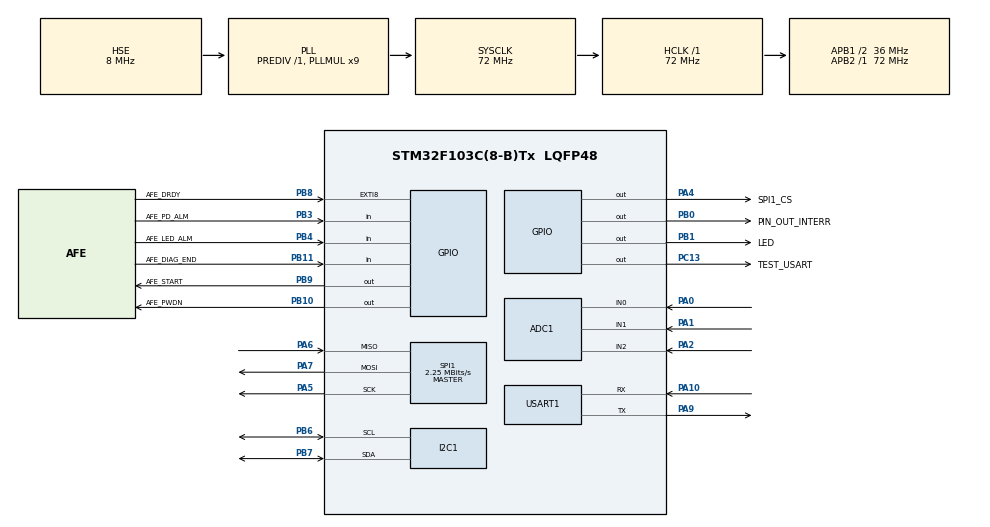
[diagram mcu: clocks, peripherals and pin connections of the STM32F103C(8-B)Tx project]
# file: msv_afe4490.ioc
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ADC1.Channel-0\#ChannelRegularConversion=ADC_CHANNEL_0
ADC1.Channel-3\#ChannelRegularConversion=ADC_CHANNEL_1
ADC1.Channel-4\#ChannelRegularConversion=ADC_CHANNEL_2
ADC1.ContinuousConvMode=DISABLE
ADC1.DiscontinuousConvMode=DISABLE
ADC1.NbrOfConversion=3
ADC1.NbrOfConversionFlag=1
ADC1.Rank-0\#ChannelRegularConversion=1
ADC1.Rank-3\#ChannelRegularConversion=2
ADC1.Rank-4\#ChannelRegularConversion=3
ADC1.SamplingTime-0\#ChannelRegularConversion=ADC_SAMPLETIME_1CYCLE_5
ADC1.SamplingTime-3\#ChannelRegularConversion=ADC_SAMPLETIME_1CYCLE_5
ADC1.SamplingTime-4\#ChannelRegularConversion=ADC_SAMPLETIME_1CYCLE_5
ADC1.master=1
Dma.Request0=USART1_RX
Dma.USART1_RX.0.Direction=DMA_PERIPH_TO_MEMORY
Dma.USART1_RX.0.Instance=DMA1_Channel5
Dma.USART1_RX.0.MemDataAlignment=DMA_MDATAALIGN_BYTE
Dma.USART1_RX.0.MemInc=DMA_MINC_ENABLE
Dma.USART1_RX.0.Mode=DMA_NORMAL
Dma.USART1_RX.0.PeriphDataAlignment=DMA_PDATAALIGN_BYTE
Dma.USART1_RX.0.PeriphInc=DMA_PINC_DISABLE
Dma.USART1_RX.0.Priority=DMA_PRIORITY_MEDIUM
FREERTOS.Tasks01=principal,0,700,tarea1,Default,NULL,Dynamic,NULL,NULL
FREERTOS.configUSE_NEWLIB_REENTRANT=1
Mcu.Family=STM32F1
Mcu.Name=STM32F103C(8-B)Tx
Mcu.Package=LQFP48
NVIC.DMA1_Channel5_IRQn=true\:5\:0\:false\:false\:true\:true\:false\:true\:true
NVIC.EXTI9_5_IRQn=true\:5\:0\:false\:false\:true\:true\:true\:true\:true
NVIC.PriorityGroup=NVIC_PRIORITYGROUP_4
NVIC.SPI1_IRQn=true\:5\:0\:false\:false\:true\:true\:true\:true\:true
NVIC.TIM1_UP_IRQn=true\:15\:0\:false\:false\:true\:false\:false\:true\:true
NVIC.TIM2_IRQn=true\:5\:0\:false\:false\:true\:true\:true\:true\:true
NVIC.TimeBase=TIM1_UP_IRQn
NVIC.TimeBaseIP=TIM1
NVIC.USART1_IRQn=true\:5\:0\:false\:false\:true\:true\:true\:true\:true
PA0-WKUP.Signal=ADCx_IN0
PA1.Signal=ADCx_IN1
PA10.Mode=Asynchronous
PA10.Signal=USART1_RX
PA13.Mode=Serial_Wire
PA13.Signal=SYS_JTMS-SWDIO
PA14.Mode=Serial_Wire
PA14.Signal=SYS_JTCK-SWCLK
PA2.Signal=ADCx_IN2
PA4.GPIO_Label=SPI1_CS
PA4.Signal=GPIO_Output
PA5.Mode=Full_Duplex_Master
PA5.Signal=SPI1_SCK
PA6.Mode=Full_Duplex_Master
PA6.Signal=SPI1_MISO
PA7.Mode=Full_Duplex_Master
PA7.Signal=SPI1_MOSI
PA9.Mode=Asynchronous
PA9.Signal=USART1_TX
PB0.GPIO_Label=PIN_OUT_INTERR
PB0.Signal=GPIO_Output
PB1.GPIO_Label=LED
PB1.Signal=GPIO_Output
PB10.GPIO_Label=AFE_PWDN
PB10.Signal=GPIO_Output
PB11.GPIO_Label=AFE_DIAG_END
PB11.Signal=GPIO_Input
PB3.GPIO_Label=AFE_PD_ALM
PB3.Signal=GPIO_Input
PB4.GPIO_Label=AFE_LED_ALM
PB4.Signal=GPIO_Input
PB6.Mode=I2C
PB6.Signal=I2C1_SCL
PB7.Mode=I2C
PB7.Signal=I2C1_SDA
PB8.GPIO_Label=AFE_DRDY
PB8.GPIO_PuPd=GPIO_PULLUP
PB8.Signal=GPXTI8
PB9.GPIO_Label=AFE_START
PB9.Signal=GPIO_Output
PC13-TAMPER-RTC.GPIO_Label=TEST_USART
PC13-TAMPER-RTC.GPIO_PuPd=GPIO_PULLDOWN
PC13-TAMPER-RTC.PinState=GPIO_PIN_SET
PC13-TAMPER-RTC.Signal=GPIO_Output
PD0-OSC_IN.Mode=HSE-External-Oscillator
PD0-OSC_IN.Signal=RCC_OSC_IN
PD1-OSC_OUT.Mode=HSE-External-Oscillator
PD1-OSC_OUT.Signal=RCC_OSC_OUT
ProjectManager.HeapSize=0x200
ProjectManager.StackSize=0x400
ProjectManager.TargetToolchain=STM32CubeIDE
RCC.ADCPresc=RCC_ADCPCLK2_DIV6
RCC.AHBFreq_Value=72000000
RCC.APB1CLKDivider=RCC_HCLK_DIV2
RCC.APB1Freq_Value=36000000
RCC.APB1TimFreq_Value=72000000
RCC.APB2Freq_Value=72000000
RCC.APB2TimFreq_Value=72000000
RCC.HCLKFreq_Value=72000000
RCC.PLLMUL=RCC_PLL_MUL9
RCC.PLLSourceVirtual=RCC_PLLSOURCE_HSE
RCC.SYSCLKFreq_VALUE=72000000
RCC.SYSCLKSource=RCC_SYSCLKSOURCE_PLLCLK
RCC.USBFreq_Value=48000000
RCC.USBPrescaler=RCC_USBCLKSOURCE_PLL_DIV1_5
SH.ADCx_IN0.0=ADC1_IN0,IN0
SH.ADCx_IN1.0=ADC1_IN1,IN1
SH.ADCx_IN2.0=ADC1_IN2,IN2
SPI1.BaudRatePrescaler=SPI_BAUDRATEPRESCALER_32
SPI1.CalculateBaudRate=2.25 MBits/s
SPI1.Direction=SPI_DIRECTION_2LINES
SPI1.Mode=SPI_MODE_MASTER
SPI1.VirtualType=VM_MASTER
TIM2.Period=4000-1
TIM2.Prescaler=72-1
USART1.VirtualMode=VM_ASYNC
VP_FREERTOS_VS_CMSIS_V1.Mode=CMSIS_V1
VP_SYS_VS_tim1.Mode=TIM1
VP_TIM2_VS_ClockSourceINT.Mode=Internal
board=custom

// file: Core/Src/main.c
/* USER CODE BEGIN Header */
/**
  ******************************************************************************
  * @file           : main.c
  * @brief          : Main program body
  ******************************************************************************
  * @attention
  *
  * Copyright (c) 2022 STMicroelectronics.
  * All rights reserved.
  *
  * This software is licensed under terms that can be found in the LICENSE file
  * in the root directory of this software component.
  * If no LICENSE file comes with this software, it is provided AS-IS.
  *
  ******************************************************************************
  */
/* USER CODE END Header */
#include "main.h"
#include "cmsis_os.h"
#include "adc.h"
#include "dma.h"
#include "i2c.h"
#include "spi.h"
#include "tim.h"
#include "usart.h"
#include "gpio.h"

/* USER CODE BEGIN PV */
TIM_HandleTypeDef htim;

bool flag_4ms = false;

/* USER CODE END PV */

void SystemClock_Config(void);
void MX_FREERTOS_Init(void);

int main(void)
{

  /* MCU Configuration--------------------------------------------------------*/

  /* Reset of all peripherals, Initializes the Flash interface and the Systick. */
  HAL_Init();

  /* Configure the system clock */
  SystemClock_Config();

  /* Initialize all configured peripherals */
  MX_GPIO_Init();
  MX_DMA_Init();
  MX_ADC1_Init();
  MX_I2C1_Init();
  MX_SPI1_Init();
  MX_USART1_UART_Init();
  MX_TIM2_Init();
  /* USER CODE BEGIN 2 */

  // Start timer
  HAL_TIM_Base_Start_IT(&htim2);

  /* USER CODE END 2 */

  /* Call init function for freertos objects (in freertos.c) */
  MX_FREERTOS_Init();

  /* Start scheduler */
  osKernelStart();

  /* We should never get here as control is now taken by the scheduler */
  /* Infinite loop */
  while (1)
  {

  }
}

void SystemClock_Config(void)
{
  RCC_OscInitTypeDef RCC_OscInitStruct = {0};
  RCC_ClkInitTypeDef RCC_ClkInitStruct = {0};
  RCC_PeriphCLKInitTypeDef PeriphClkInit = {0};

  /** Initializes the RCC Oscillators according to the specified parameters
  * in the RCC_OscInitTypeDef structure.
  */
  RCC_OscInitStruct.OscillatorType = RCC_OSCILLATORTYPE_HSE;
  RCC_OscInitStruct.HSEState = RCC_HSE_ON;
  RCC_OscInitStruct.HSEPredivValue = RCC_HSE_PREDIV_DIV1;
  RCC_OscInitStruct.HSIState = RCC_HSI_ON;
  RCC_OscInitStruct.PLL.PLLState = RCC_PLL_ON;
  RCC_OscInitStruct.PLL.PLLSource = RCC_PLLSOURCE_HSE;
  RCC_OscInitStruct.PLL.PLLMUL = RCC_PLL_MUL9;
  if (HAL_RCC_OscConfig(&RCC_OscInitStruct) != HAL_OK)
  {
    Error_Handler();
  }

  /** Initializes the CPU, AHB and APB buses clocks
  */
  RCC_ClkInitStruct.ClockType = RCC_CLOCKTYPE_HCLK|RCC_CLOCKTYPE_SYSCLK
                              |RCC_CLOCKTYPE_PCLK1|RCC_CLOCKTYPE_PCLK2;
  RCC_ClkInitStruct.SYSCLKSource = RCC_SYSCLKSOURCE_PLLCLK;
  RCC_ClkInitStruct.AHBCLKDivider = RCC_SYSCLK_DIV1;
  RCC_ClkInitStruct.APB1CLKDivider = RCC_HCLK_DIV2;
  RCC_ClkInitStruct.APB2CLKDivider = RCC_HCLK_DIV1;

  if (HAL_RCC_ClockConfig(&RCC_ClkInitStruct, FLASH_LATENCY_2) != HAL_OK)
  {
    Error_Handler();
  }
  PeriphClkInit.PeriphClockSelection = RCC_PERIPHCLK_ADC;
  PeriphClkInit.AdcClockSelection = RCC_ADCPCLK2_DIV6;
  if (HAL_RCCEx_PeriphCLKConfig(&PeriphClkInit) != HAL_OK)
  {
    Error_Handler();
  }
}

void HAL_TIM_PeriodElapsedCallback(TIM_HandleTypeDef *htim)
{
  if (htim->Instance == TIM1) {
    HAL_IncTick();
  }
  /* USER CODE BEGIN Callback 1 */
  if (htim == &htim2 )
    {
      flag_4ms = true;
      HAL_GPIO_TogglePin(GPIOB, GPIO_PIN_1);
    }

  /* USER CODE END Callback 1 */
}

void Error_Handler(void)
{
  __disable_irq();
  while (1)
  {
  }
}

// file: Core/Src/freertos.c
/* USER CODE BEGIN Header */
/**
 ******************************************************************************
  * Descripción        : Código de FreeRtos para el monitor de signos vitales
 *                      (módulo SMT32f103 de oximetría).
 *
 * Comandos Disponibles:
 *      S: Iniciar.
 *      E: Detener.
 *      I: solicitar información de firmware.
 *
 * Lista de cambios:
 *
 * 1.0.0 - Primer versión estable.
 * 1.0.1 - Primer optimización de código.
 * 1.0.2 - Se agregan definiciones para los comandos.
 * 1.1.0 - Se agrega buffer en la salida de oxigenación para evitar cambios bruscos en el valor calculado.
 * 1.1.1 - Se agrega buffer en la salida de fecuencia cardiaca para evitar cambios bruscos en el valor calculado.
 * 1.1.2 - Ajuste en el manejo de los buffers de oxigeneación y frecuencia cardiaca
 * 			Se envia aviso de detección de sonda: 	O:0 -> no se detecta la sonda
 * 													O:1 -> no se detecta el dedo
 *													O:2 -> estado correcto midiendo
 *
 *
 ******************************************************************************
 * @attention
 *
 * Copyright (c) 2022 STMicroelectronics.
 * All rights reserved.
 *
 * This software is licensed under terms that can be found in the LICENSE file
 * in the root directory of this software component.
 * If no LICENSE file comes with this software, it is provided AS-IS.
 *
 ******************************************************************************
 */
/* USER CODE END Header */

#include "FreeRTOS.h"
#include "task.h"
#include "main.h"
#include "cmsis_os.h"

/* USER CODE BEGIN Includes */
#include <stdio.h>
#include <string.h>
#include <stdlib.h>
#include <math.h>
/* USER CODE END Includes */

/* USER CODE BEGIN PTD */
typedef enum
{
    FALSE = 0u, TRUE
} boolean;

typedef enum
{
    CONTROL0 = 0x00,
    LED2STC,
    LED2ENDC,
    LED2LEDSTC,
    LED2LEDENDC,
    ALED2STC,
    ALED2ENDC,
    LED1STC,
    LED1ENDC,
    LED1LEDSTC,
    LED1LEDENDC,
    ALED1STC,
    ALED1ENDC,
    LED2CONVST,
    LED2CONVEND,
    ALED2CONVST,
    ALED2CONVEND,
    LED1CONVST,
    LED1CONVEND,
    ALED1CONVST,
    ALED1CONVEND,
    ADCRSTCNT0,
    ADCRSTENDCT0,
    ADCRSTCNT1,
    ADCRSTENDCT1,
    ADCRSTCNT2,
    ADCRSTENDCT2,
    ADCRSTCNT3,
    ADCRSTENDCT3,
    PRPCOUNT,
    CONTROL1,
    SPARE1,
    TIAGAIN,
    TIA_AMB_GAIN,
    LEDCNTRL,
    CONTROL2,
    SPARE2,
    SPARE3,
    SPARE4,
    RESERVED1,
    RESERVED2,
    ALARM,
    LED2VAL,
    ALED2VAL,
    LED1VAL,
    ALED1VAL,
    LED2ABSVAL,
    LED1ABSVAL,
    DIAG
} afeRegisters;

typedef struct
{
        int32_t heart_rate;
        int32_t spo2;
        int32_t ir;
        int32_t red;
        boolean calculated_value;
} afe44xx_output_values;

typedef union
{
        struct
        {
                uint8_t b;
                uint8_t r;
                uint8_t g;
        } color;
        uint32_t data;
} PixelRGB_t;

/* USER CODE END PTD */

/* USER CODE BEGIN PD */
#define VERSION_FIRMWARE "1.1.2"
#define ADC_VMAX 4095.0         // 2^12-1 Bits
#define ADC_VREF  2.5       //Voltaje de referencia (en volts)
#define RES_PULLUP_TEMPERATURA 10000
#define V_POWER  3.3

#define CMD_INICIAR 'S'
#define CMD_DETENER 'E'
#define CMD_INFO    'I'
#define CMD_PING    'P'

#define FS            25    //sampling frequency
#define BUFFER_SIZE  (FS*4)
#define MA4_SIZE  4 // DONOT CHANGE
#define NUMERO_MUESTRAS_TEMPERATURA 64

#define	TOL_FC			25
#define	LIM_SUP_SONDA	4190000
#define	LIM_INF_SONDA	5000

/* USER CODE END PD */

/* USER CODE BEGIN PM */
#define min(x,y) ((x) < (y) ? (x) : (y))
//#define millis() (absoluteElapsedTime)
#define millis() HAL_GetTick ()
/* USER CODE END PM */

/* USER CODE BEGIN Variables */
/// Dispositivos
extern SPI_HandleTypeDef hspi1;
extern TIM_HandleTypeDef htim2;

extern UART_HandleTypeDef huart1;
extern ADC_HandleTypeDef hadc1;

/// Variables generales
uint8_t versionFirmware[] = VERSION_FIRMWARE;

uint8_t msgBuff[40] =
        { 0 };
uint8_t msgCount;
//uint8_t rxBuff[15] = { 0 };
uint8_t rxByte;
//uint8_t rxCnt = 0;

extern bool flag_4ms;
boolean solicitarInfo = FALSE;
boolean monitoreoActivo = FALSE;
boolean flag_error = FALSE;
boolean	flag_Ping = FALSE;
boolean flag_Start = FALSE ;
uint16_t count_Dato = 0;

boolean	flag_500ms = FALSE;
boolean flag_init_p = FALSE;

uint16_t buffMuestrasTemperatura[NUMERO_MUESTRAS_TEMPERATURA]; //2.844V - 36º
uint16_t buffMuestrasVTotal[NUMERO_MUESTRAS_TEMPERATURA]; //2.844V - 36º

float temperatura;

int32_t val_pleth_Grafica = 0;
int32_t val_pleth = 0;

int afe_oxigenacion = 0;         // Valor leído de spo2 previamente guardado
int afe_frecuenciaCardiaca = 0; // Valor leído de hartrate previamente guardado

/// Variables para FC
int32_t valor_0=0,valor_1=0;
float  	m_min=0, m_act=0;
float	array_frec[10]={0,0,0,0,0,0,0,0,0,0};
float	delta_t=1,frec_bpm=0;
float	prom_frec=0,sum_frec=0;
float	suma_fc=0, prom_fc=0;
float	frec_bpm_0=0,dif_bpm=0;

int		flag_pls=0,flag_edg=0;
int		cont_m=0,cont_clr=0;
int		cont_array=0,lim_array=6;		//  antes lim_array=10
int		delta_m=10;
int		cont_500ms=0;

int8_t	edo_sonda = 0,edo_sonda_ant=0;
unsigned long tiempo_0=0, tiempo_1=0,cont_pulsos=0;
uint32_t	cta_envio = 0;

/// Variables AFE

boolean drdy_trigger = FALSE; // Bandera indicando que se hay listo un dato para leer, se activa por interrupción
uint8_t dec = 0;                                      // Contador para los comandos del AFE

int8_t n_buffer_count;                            //data length
uint16_t aun_ir_buffer[100];                      //infrared LED sensor data
uint16_t aun_red_buffer[100];                     //red LED sensor data
int32_t an_x[BUFFER_SIZE];
int32_t an_y[BUFFER_SIZE];

const uint8_t uch_spo2_table[184] =
        { 95, 95, 95, 96, 96, 96, 97, 97, 97, 97, 97, 98, 98, 98, 98, 98, 99, 99, 99, 99, 99, 99, 99,
          99, 100, 100, 100, 100, 100, 100, 100, 100, 100, 100, 100, 100, 100, 100, 100, 100, 100, 100,
          100, 100, 99, 99, 99, 99, 99, 99, 99, 99, 98, 98, 98, 98, 98, 98, 97, 97, 97, 97, 96, 96, 96,
          96, 95, 95, 95, 94, 94, 94, 93, 93, 93, 92, 92, 92, 91, 91, 90, 90, 89, 89, 89, 88, 88, 87,
          87, 86, 86, 85, 85, 84, 84, 83, 82, 82, 81, 81, 80, 80, 79, 78, 78, 77, 76, 76, 75, 74, 74,
          73, 72, 72, 71, 70, 69, 69, 68, 67, 66, 66, 65, 64, 63, 62, 62, 61, 60, 59, 58, 57, 56, 56,
          55, 54, 53, 52, 51, 50, 49, 48, 47, 46, 45, 44, 43, 42, 41, 40, 39, 38, 37, 36, 35, 34, 33,
          31, 30, 29, 28, 27, 26, 25, 23, 22, 21, 20, 19, 17, 16, 15, 14, 12, 11, 10, 9, 7, 6, 5, 3, 2,
          1 };
afe44xx_output_values afe_datos;                // Datos leídos del AFE

/* USER CODE END Variables */
osThreadId principalHandle;

/* USER CODE BEGIN FunctionPrototypes */

void afe44xxWrite (afeRegisters address, uint32_t data);
uint32_t afe44xxRead (uint8_t address);
void afe44xxInit (void);
void sort_ascend (int32_t *pn_x, int32_t n_size);
void sort_indices_descend (int32_t *pn_x, int32_t *pn_indx, int32_t n_size);
void remove_close_peaks (int32_t *pn_locs, int32_t *pn_npks, int32_t *pn_x, int32_t n_min_distance);
void find_peak_above (int32_t *pn_locs,
                      int32_t *n_npks,
                      int32_t *pn_x,
                      int32_t n_size,
                      int32_t n_min_height);
void find_peak (int32_t *pn_locs,
                int32_t *n_npks,
                int32_t *pn_x,
                int32_t n_size,
                int32_t n_min_height,
                int32_t n_min_distance,
                int32_t n_max_num);
void estimate_spo2 (uint16_t *pun_ir_buffer,
                    int32_t n_ir_buffer_length,
                    uint16_t *pun_red_buffer,
                    int32_t *pn_spo2,
                    int8_t *pch_spo2_valid,
                    int32_t *pn_heart_rate,
                    int8_t *pch_hr_valid);

boolean getDataIfAvailable (afe44xx_output_values *sensed_values);
void selChADC (ADC_HandleTypeDef *hadc, uint8_t channel);
uint16_t analogRead (ADC_HandleTypeDef *hadc);
void USART_Rev (UART_HandleTypeDef *huart);

/* USER CODE END FunctionPrototypes */

void tarea1(void const * argument);

void MX_FREERTOS_Init(void); /* (MISRA C 2004 rule 8.1) */

/* GetIdleTaskMemory prototype (linked to static allocation support) */
void vApplicationGetIdleTaskMemory( StaticTask_t **ppxIdleTaskTCBBuffer, StackType_t **ppxIdleTaskStackBuffer, uint32_t *pulIdleTaskStackSize );

/* USER CODE BEGIN GET_IDLE_TASK_MEMORY */
static StaticTask_t xIdleTaskTCBBuffer;
static StackType_t xIdleStack[configMINIMAL_STACK_SIZE];

void vApplicationGetIdleTaskMemory (StaticTask_t **ppxIdleTaskTCBBuffer,
                                    StackType_t **ppxIdleTaskStackBuffer,
                                    uint32_t *pulIdleTaskStackSize)
{
    *ppxIdleTaskTCBBuffer = &xIdleTaskTCBBuffer;
    *ppxIdleTaskStackBuffer = &xIdleStack[0];
    *pulIdleTaskStackSize = configMINIMAL_STACK_SIZE;
    /* place for user code */
}
/* USER CODE END GET_IDLE_TASK_MEMORY */

void MX_FREERTOS_Init(void) {

  /* Create the thread(s) */
  /* definition and creation of principal */
  osThreadDef(principal, tarea1, osPriorityNormal, 0, 700);
  principalHandle = osThreadCreate(osThread(principal), NULL);

}

void tarea1(void const * argument)
{
  /* USER CODE BEGIN tarea1 */
    HAL_UART_Receive_IT (&huart1, &rxByte, 1);

  //  msgCount = sprintf ((char*) msgBuff, (char*) "R\n");
 //   HAL_UART_Transmit (&huart1, msgBuff, msgCount, 5);

    //AFE Wake-up time from complete power-down : 1000ms TYP
    osDelay (2000); //asegurar que el AFE inicie correctamente
    afe44xxInit ();

    //    usbCount = sprintf ((char*) usbBuff, (char*) "AFE Inicializado\n");

    for (;;)
    {
    	//if(!USART_CR1_PEIE)
    	//{
       		USART_Rev(&huart1);
    	//}
       	if (monitoreoActivo)
       	{
       		getDataIfAvailable (&afe_datos);

       		///////////////////////////////////
       		//SET_BIT(US,1);
       		//HAL_USART_ErrorCallback(&huart1);
       		///////////////////////////////////

       		if (flag_4ms)	//gráfica cada 4ms (250sps)
       		{
       			flag_4ms = false;
       			val_pleth = (afe_datos.red + afe_datos.ir);
       			cont_500ms++;
       			cta_envio++;
       			count_Dato++;
       			if(count_Dato>9)
       			{
       				count_Dato=0;
       			}

       			edo_sonda_ant = edo_sonda;

       			if (val_pleth <= LIM_INF_SONDA)		// valor recibido cuando no se detecta la sonda
       			{
       				edo_sonda = 0;
       				val_pleth_Grafica = 0;

       			}
       			else if (val_pleth >= LIM_SUP_SONDA)	// valor recibido cuando no está colocado el dedo
       			{
       				edo_sonda = 1;
       				val_pleth_Grafica = 0;
       			}
       			else	// sonda y colocación correcta
       			{
       				edo_sonda = 2;
       				val_pleth_Grafica = val_pleth;
       			}

       			if (edo_sonda != edo_sonda_ant)
       			{
       				cta_envio=0;
       			}
       			if (cta_envio == 8)
       			{
       				msgCount = sprintf ((char*) msgBuff, (char*) "O:%i\n",edo_sonda);
       				HAL_UART_Transmit (&huart1, msgBuff, msgCount, 5);
       			}
       			afe_oxigenacion = (int)afe_datos.spo2;
       			if((afe_oxigenacion<60)||(afe_oxigenacion>100))
       			{
       				msgCount = sprintf ((char*) msgBuff, (char*) "B:0,%i\n",count_Dato);
       			}
       			else
       			{
       				msgCount = sprintf ((char*) msgBuff, (char*) "B:%li,%i\n",val_pleth_Grafica / 100,count_Dato);
       			}

       			//msgCount = sprintf ((char*) msgBuff, (char*) "B:%li,%i\n",val_pleth_Grafica / 100,count_Dato);	 //para RAS,

       			HAL_UART_Transmit (&huart1, msgBuff, msgCount, 5);

       			if (edo_sonda == 2) // si se detecta sonda y dedo correctamente
       			{
       				if (cont_m == 1)
       				{
       					valor_0 = val_pleth_Grafica;
       				}
       				else if (cont_m > delta_m)
       				{
       					valor_1 = val_pleth_Grafica;
       					cont_m = 0;
       					m_act = (valor_1 - valor_0) / delta_m;
       				}

       				if(m_act > 0)
       				{
       					if (flag_pls==1)
       					{
       						msgCount = sprintf ((char*) msgBuff, (char*) "S\n");
       						HAL_UART_Transmit (&huart1, msgBuff, msgCount, 5);
       						flag_pls=0;
       						if (tiempo_0>0)
       						{
       							tiempo_1 = millis();
       							delta_t = (float)(tiempo_1-tiempo_0)/1000;
       							frec_bpm = 60/delta_t;
       							cont_pulsos++;
       							flag_init_p = TRUE;
       						}		// fin tiempo_0 > 10
       						tiempo_0 = millis();

       						if (flag_init_p)
       						{
       							if (frec_bpm_0 > 0)
       							{
       								dif_bpm = frec_bpm - frec_bpm_0;
       							}

       							if ((dif_bpm < TOL_FC) && (dif_bpm > -TOL_FC) && (frec_bpm < 220))
       							{
       								array_frec[cont_array] = frec_bpm;
       								cont_array++;
       							}
       							else
       							{
       								array_frec[cont_array] = array_frec[cont_array-1];
       							}

       							frec_bpm_0 = frec_bpm;
       							sum_frec += array_frec[cont_array-1];

       							if (cont_pulsos > (3+lim_array))
       							{
       								//prom_frec = sum_frec /cont_array;
       								afe_frecuenciaCardiaca = (int)prom_fc;
       							}
       							else
       							{
       								if (frec_bpm < 220)
       								{
       									//prom_frec = frec_bpm;
       									afe_frecuenciaCardiaca = (int)frec_bpm;
       								}
       							}

       							if (cont_array > lim_array)
       							{
       								cont_array=1;
       								sum_frec = frec_bpm;
       							}
       							flag_init_p = FALSE;
       						}

       						if (cont_pulsos > 3)
       						{
       							if((afe_oxigenacion<60)||(afe_oxigenacion>100))
       							{
       								afe_frecuenciaCardiaca = 0;
       							}
       							msgCount = sprintf ((char*) msgBuff, "R:%i,%i\n", afe_oxigenacion,
       									afe_frecuenciaCardiaca);
       							HAL_UART_Transmit (&huart1, msgBuff, msgCount, 5);
       	       					//HAL_UART_Receive_IT (&huart1, &rxByte, 1);
       						}
       					}		// fin flag_pls
       					flag_edg=0;
       				}
       				else if(m_act < 0.5*m_min)
       				{
       					if (flag_edg==0)
       					{
       						m_min = m_act;
       						cont_clr = 0;
       						flag_pls = 1;

       						suma_fc = 0;
       						float max_frec=0;
       						float min_frec=400;
       						for (int ij=0;ij<lim_array;ij++)
       						{
       							if (array_frec[ij]>max_frec)
       							{
       								max_frec=array_frec[ij];
       							}
       							if (array_frec[ij]<min_frec)
       							{
       								min_frec=array_frec[ij];
       							}
       							suma_fc+=array_frec[ij];
       						}
       						suma_fc = suma_fc-max_frec-min_frec;
       						prom_fc = suma_fc/(lim_array-2);

       						afe_oxigenacion = (int)afe_datos.spo2;
       						//afe_frecuenciaCardiaca = (int)prom_fc;
       					}
       					flag_edg = 1;
       				}
       				if ((flag_edg == 1) && (m_act < m_min))
       				{
       					m_min=m_act;
       				}

       				cont_m++;

       				if (cont_clr>500)
       				{
       					m_min = m_act;
       					cont_clr = 0;
       				}
       				cont_clr++;

       				//afe_oxigenacion = (int)afe_datos.spo2;
       				//afe_frecuenciaCardiaca = (int)prom_frec;

       			}
       			else		// deconexión de sonda o dedo
       			{
       				afe_oxigenacion = 0;
       				afe_frecuenciaCardiaca = 0;
       				for (int j=0;j>lim_array;j++)
       				{
       					array_frec[j] = 0;
       				}
       				cont_pulsos = 0;
       				cont_array = 0;
       				tiempo_0 = 0;
       				frec_bpm_0 = 0;
       				if (flag_500ms)
       				{
       					//afe_oxigenacion = (int)afe_datos.spo2;
       					if((afe_oxigenacion<70)||(afe_oxigenacion>100))
       					{
       						afe_frecuenciaCardiaca = 0;
       					}
       					else
       					{
       						//msgCount = sprintf ((char*) msgBuff, (char*) "B:%li,%i\n",val_pleth_Grafica / 100,count_Dato);
       						msgCount = sprintf ((char*) msgBuff, "R:%i,%i\n", afe_oxigenacion,
       								afe_frecuenciaCardiaca);
       						HAL_UART_Transmit (&huart1, msgBuff, msgCount, 5);
       					}

       					/*msgCount = sprintf ((char*) msgBuff, "R:%i,%i\n", afe_oxigenacion,
       							afe_frecuenciaCardiaca);
       					HAL_UART_Transmit (&huart1, msgBuff, msgCount, 5);*/
       					flag_500ms = FALSE;
       					//HAL_UART_Receive_IT (&huart1, &rxByte, 1);
       				}
       			}

       			if (cont_500ms >= 150)
       			{
       				cont_500ms = 0;
       				flag_500ms = TRUE;

       			}

       		}	// fin de periodo de 4 ms
       	}
       	else {
       		//coun_ERROR++;
       		//HAL_GPIO_TogglePin(TEST_USART_GPIO_Port, TEST_USART_Pin);
		}

       	if (flag_error)
       	{
       		if (flag_4ms)	//gráfica cada 4ms (250sps)
       		{
       			flag_4ms = false;
       			cont_500ms++;
       			if (cont_500ms >= 5)
       			{
       				cont_500ms = 0;
       				flag_500ms = TRUE;

       			}
       			if(flag_500ms)
       			{
       				//HAL_GPIO_TogglePin(TEST_USART_GPIO_Port, TEST_USART_Pin);
       				msgCount = sprintf ((char*) msgBuff, "U\n");
       				HAL_UART_Transmit (&huart1, msgBuff, msgCount, 5);
       				flag_500ms = FALSE;
       			}

       		}
       	}
       	if (solicitarInfo)
       	{
       		msgCount = sprintf ((char*) msgBuff, "I:MISC,%s\n", versionFirmware);
       		HAL_UART_Transmit (&huart1, msgBuff, msgCount, 5);
       		solicitarInfo = FALSE;
       	}
       	if (flag_Start)
		{
			msgCount = sprintf ((char*) msgBuff, "s\n");
			HAL_UART_Transmit (&huart1, msgBuff, msgCount, 5);
			flag_Start = FALSE;
			//coun_ERROR = 0;
			count_Dato=0;
			//HAL_Delay(3000); /// debug de Plestimografia arrenque
		}
       	if (flag_Ping)
       	{
       		msgCount = sprintf ((char*) msgBuff, "P\n");
       		HAL_UART_Transmit (&huart1, msgBuff, msgCount, 5);
       		flag_Ping = FALSE;
       	}

    }
  /* USER CODE END tarea1 */
}

/* USER CODE BEGIN Application */
//void HAL_TIM_PeriodElapsedCallback (TIM_HandleTypeDef *htim) // Está en el main.c
void HAL_GPIO_EXTI_Callback (uint16_t GPIO_Pin)
{
    if (GPIO_Pin == AFE_DRDY_Pin)
        {
            drdy_trigger = TRUE;
        }
}

void HAL_UART_RxCpltCallback (UART_HandleTypeDef *huart)
{
	//HAL_GPIO_TogglePin(TEST_USART_GPIO_Port, TEST_USART_Pin);
	//HAL_GPIO_WritePin (TEST_USART_GPIO_Port, TEST_USART_Pin, GPIO_PIN_SET);
    if (rxByte == CMD_INFO)
        {
            solicitarInfo = TRUE;
        }
    else if (rxByte == CMD_DETENER)
        {
            monitoreoActivo = FALSE;
        }
    else if (rxByte == CMD_INICIAR)
        {
            monitoreoActivo = TRUE;
    		flag_Start = TRUE;
    		flag_error = FALSE;
    		//HAL_GPIO_WritePin (TEST_USART_GPIO_Port, TEST_USART_Pin, GPIO_PIN_SET);
            __HAL_TIM_SetCounter(&htim2, 0);
        }
    else if (rxByte == CMD_PING)
		{
    		flag_Ping = TRUE;
    		//MX_USART1_UART_Init();
		}
    else
        {
    		//HAL_GPIO_TogglePin(TEST_USART_GPIO_Port, TEST_USART_Pin);
    		//HAL_GPIO_WritePin (TEST_USART_GPIO_Port, TEST_USART_Pin, GPIO_PIN_RESET);
    		monitoreoActivo = FALSE;
    		flag_error = TRUE;
			//monitoreoActivo=0;
        }
    //HAL_UART_Receive_IT (&huart1, &rxByte, 1);
    HAL_UART_Receive_DMA(&huart1, &rxByte, 1);
   // HAL_GPIO_WritePin (TEST_USART_GPIO_Port, TEST_USART_Pin, GPIO_PIN_RESET);
    //HAL_GPIO_TogglePin(TEST_USART_GPIO_Port, TEST_USART_Pin);

}

/*/
void HAL_USART_ErrorCallback (UART_HandleTypeDef *huart)
{
	//if (huart == &huart1){
			__HAL_UART_CLEAR_PEFLAG(&huart1);
			__HAL_UART_CLEAR_OREFLAG(&huart1);
			__HAL_UART_CLEAR_FEFLAG(&huart1);
			__HAL_UART_CLEAR_NEFLAG(&huart1);
			__HAL_UART_CLEAR_IDLEFLAG(&huart1);
			//MX_USART1_UART_Init();
			HAL_UART_Init(&huart1);
			__HAL_UNLOCK(huart);

			/// Enable the UART Parity Error Interrupt ///
			__HAL_UART_ENABLE_IT(huart, UART_IT_PE);

			// Enable the UART Error Interrupt: (Frame error, noise error, overrun error) ///
			__HAL_UART_ENABLE_IT(huart, UART_IT_ERR);

			// Enable the UART Data Register not empty Interrupt /
			__HAL_UART_ENABLE_IT(huart, UART_IT_RXNE);

		//}

}
//*/

void afe44xxWrite (afeRegisters address, uint32_t data)
{
    uint8_t dataArr[3];
    dataArr[0] = (data >> 16) & 0xFF;
    dataArr[1] = (data >> 8) & 0xFF;
    dataArr[2] = data & 0xFF;
    HAL_GPIO_WritePin (SPI1_CS_GPIO_Port, SPI1_CS_Pin, GPIO_PIN_RESET);            // enable device
    HAL_SPI_Transmit (&hspi1, &address, 1, 10);            // send address to device
    //HAL_SPI_Transmit (&hspi1, &dataArr[0], 1, 10);// write top 8 bits
    //HAL_SPI_Transmit (&hspi1, &dataArr[1], 1, 10);// write middle 8 bits
    //HAL_SPI_Transmit (&hspi1, &dataArr[2], 1, 10);// write bottom 8 bits
    HAL_SPI_Transmit (&hspi1, dataArr, 3, 10);
    HAL_GPIO_WritePin (SPI1_CS_GPIO_Port, SPI1_CS_Pin, GPIO_PIN_SET);    // disable device
}

uint32_t afe44xxRead (uint8_t address)
{
    uint8_t datos[3] =
            { 0 };
    uint32_t data = 0;

    HAL_GPIO_WritePin (SPI1_CS_GPIO_Port, SPI1_CS_Pin, GPIO_PIN_RESET);    // enable device
    HAL_SPI_Transmit (&hspi1, &address, 1, 10);
    HAL_SPI_Receive (&hspi1, datos, 3, 10);
    //         Top8                   | mid 8                   | end 8
    data = ((uint32_t) datos[0] << 16) | (uint32_t) datos[1] << 8 | (uint32_t) datos[2];
    HAL_GPIO_WritePin (SPI1_CS_GPIO_Port, SPI1_CS_Pin, GPIO_PIN_RESET);    // disable device
    return data; // return with 24 bits of read data
}

void afe44xxInit (void)
{
    //digitalWrite(pwdn, LOW);
    HAL_GPIO_WritePin (AFE_PWDN_GPIO_Port, AFE_PWDN_Pin, GPIO_PIN_RESET);
    osDelay (500);
    HAL_GPIO_WritePin (AFE_PWDN_GPIO_Port, AFE_PWDN_Pin, GPIO_PIN_SET);
    //digitalWrite(pwdn, HIGH);
    osDelay (500);

    afe44xxWrite (CONTROL0, 0x000000);
    afe44xxWrite (CONTROL0, 0x000008);
    afe44xxWrite (TIAGAIN, 0x000000); // CF = 5pF, RF = 500kR
    afe44xxWrite (TIA_AMB_GAIN, 0x000001);
    afe44xxWrite (LEDCNTRL, 0x001414);
    afe44xxWrite (CONTROL2, 0x000000); // LED_RANGE=100mA, LED=50mA
    afe44xxWrite (CONTROL1, 0x010707); // Timers ON, average 3 samples
    afe44xxWrite (PRPCOUNT, 0X001F3F);
    afe44xxWrite (LED2STC, 0X001770);
    afe44xxWrite (LED2ENDC, 0X001F3E);
    afe44xxWrite (LED2LEDSTC, 0X001770);
    afe44xxWrite (LED2LEDENDC, 0X001F3F);
    afe44xxWrite (ALED2STC, 0X000000);
    afe44xxWrite (ALED2ENDC, 0X0007CE);
    afe44xxWrite (LED2CONVST, 0X000002);
    afe44xxWrite (LED2CONVEND, 0X0007CF);
    afe44xxWrite (ALED2CONVST, 0X0007D2);
    afe44xxWrite (ALED2CONVEND, 0X000F9F);
    afe44xxWrite (LED1STC, 0X0007D0);
    afe44xxWrite (LED1ENDC, 0X000F9E);
    afe44xxWrite (LED1LEDSTC, 0X0007D0);
    afe44xxWrite (LED1LEDENDC, 0X000F9F);
    afe44xxWrite (ALED1STC, 0X000FA0);
    afe44xxWrite (ALED1ENDC, 0X00176E);
    afe44xxWrite (LED1CONVST, 0X000FA2);
    afe44xxWrite (LED1CONVEND, 0X00176F);
    afe44xxWrite (ALED1CONVST, 0X001772);
    afe44xxWrite (ALED1CONVEND, 0X001F3F);
    afe44xxWrite (ADCRSTCNT0, 0X000000);
    afe44xxWrite (ADCRSTENDCT0, 0X000000);
    afe44xxWrite (ADCRSTCNT1, 0X0007D0);
    afe44xxWrite (ADCRSTENDCT1, 0X0007D0);
    afe44xxWrite (ADCRSTCNT2, 0X000FA0);
    afe44xxWrite (ADCRSTENDCT2, 0X000FA0);
    afe44xxWrite (ADCRSTCNT3, 0X001770);
    afe44xxWrite (ADCRSTENDCT3, 0X001770);
    osDelay (1000);
}

void sort_ascend (int32_t *pn_x, int32_t n_size)
{
    int32_t i, j, n_temp;
    for (i = 1; i < n_size; i++)
        {
            n_temp = pn_x[i];
            for (j = i; j > 0 && n_temp < pn_x[j - 1]; j--)
                pn_x[j] = pn_x[j - 1];
            pn_x[j] = n_temp;
        }
}

void sort_indices_descend (int32_t *pn_x, int32_t *pn_indx, int32_t n_size)
{
    int32_t i, j, n_temp;
    for (i = 1; i < n_size; i++)
        {
            n_temp = pn_indx[i];
            for (j = i; j > 0 && pn_x[n_temp] > pn_x[pn_indx[j - 1]]; j--)
                pn_indx[j] = pn_indx[j - 1];
            pn_indx[j] = n_temp;
        }
}

void remove_close_peaks (int32_t *pn_locs, int32_t *pn_npks, int32_t *pn_x, int32_t n_min_distance)
{

    int32_t i, j, n_old_npks, n_dist;

    /* Order peaks from large to small */
    sort_indices_descend (pn_x, pn_locs, *pn_npks);

    for (i = -1; i < *pn_npks; i++)
        {
            n_old_npks = *pn_npks;
            *pn_npks = i + 1;
            for (j = i + 1; j < n_old_npks; j++)
                {
                    n_dist = pn_locs[j] - (i == -1 ? -1 : pn_locs[i]); // lag-zero peak of autocorr is at index -1
                    if (n_dist > n_min_distance || n_dist < -n_min_distance)
                        pn_locs[ (*pn_npks)++] = pn_locs[j];
                }
        }

    // Resort indices int32_to ascending order
    sort_ascend (pn_locs, *pn_npks);
}

void find_peak_above (int32_t *pn_locs,
                      int32_t *n_npks,
                      int32_t *pn_x,
                      int32_t n_size,
                      int32_t n_min_height)
{
    int32_t i = 1, n_width;
    *n_npks = 0;

    while (i < n_size - 1)
        {
            if (pn_x[i] > n_min_height && pn_x[i] > pn_x[i - 1])
                {   // find left edge of potential peaks
                    n_width = 1;
                    while (i + n_width < n_size && pn_x[i] == pn_x[i + n_width]) // find flat peaks
                        n_width++;
                    if (pn_x[i] > pn_x[i + n_width] && (*n_npks) < 15)
                        {   // find right edge of peaks
                            pn_locs[ (*n_npks)++] = i;
                            // for flat peaks, peak location is left edge
                            i += n_width + 1;
                        }
                    else
                        i += n_width;
                }
            else
                i++;
            //  Serial.println("beat");
        }
}

void find_peak (int32_t *pn_locs,
                int32_t *n_npks,
                int32_t *pn_x,
                int32_t n_size,
                int32_t n_min_height,
                int32_t n_min_distance,
                int32_t n_max_num)
{
    find_peak_above (pn_locs, n_npks, pn_x, n_size, n_min_height);
    remove_close_peaks (pn_locs, n_npks, pn_x, n_min_distance);
    *n_npks = min(*n_npks, n_max_num);
}

void estimate_spo2 (uint16_t *pun_ir_buffer,
                    int32_t n_ir_buffer_length,
                    uint16_t *pun_red_buffer,
                    int32_t *pn_spo2,
                    int8_t *pch_spo2_valid,
                    int32_t *pn_heart_rate,
                    int8_t *pch_hr_valid)
{
    //uint32_t un_ir_mean, un_only_once;
    uint32_t un_ir_mean;
    int32_t k, n_i_ratio_count;
    //int32_t i, s, m, n_exact_ir_valley_locs_count, n_middle_idx;
    int32_t i, n_exact_ir_valley_locs_count, n_middle_idx;
    //int32_t n_th1, n_npks, n_c_min;
    int32_t n_th1, n_npks;
    int32_t an_ir_valley_locs[15];
    int32_t n_peak_interval_sum;

    int32_t n_y_ac, n_x_ac;
    int32_t n_spo2_calc;
    int32_t n_y_dc_max, n_x_dc_max;
    int32_t n_y_dc_max_idx, n_x_dc_max_idx;
    int32_t an_ratio[5], n_ratio_average;
    int32_t n_nume, n_denom;

    // calculates DC mean and subtract DC from ir
    un_ir_mean = 0;
    for (k = 0; k < n_ir_buffer_length; k++)
        un_ir_mean += pun_ir_buffer[k];
    un_ir_mean = un_ir_mean / n_ir_buffer_length;

    // remove DC and invert signal so that we can use peak detector as valley detector
    for (k = 0; k < n_ir_buffer_length; k++)
        an_x[k] = -1 * (pun_ir_buffer[k] - un_ir_mean);

    // 4 pt Moving Average
    for (k = 0; k < BUFFER_SIZE - MA4_SIZE; k++)
        {
            an_x[k] = (an_x[k] + an_x[k + 1] + an_x[k + 2] + an_x[k + 3]) / (int) 4;
        }
    // calculate threshold
    n_th1 = 0;
    for (k = 0; k < BUFFER_SIZE; k++)
        {
            n_th1 += an_x[k];
        }
    n_th1 = n_th1 / (BUFFER_SIZE);
    if (n_th1 < 30) n_th1 = 30; // min allowed
    if (n_th1 > 60) n_th1 = 60; // max allowed

    for (k = 0; k < 15; k++)
        an_ir_valley_locs[k] = 0;
    // since we flipped signal, we use peak detector as valley detector
    find_peak (an_ir_valley_locs, &n_npks, an_x, BUFFER_SIZE, n_th1, 4, 15); //peak_height, peak_distance, max_num_peaks
    n_peak_interval_sum = 0;
    if (n_npks >= 2)
        {
            for (k = 1; k < n_npks; k++)
                n_peak_interval_sum += (an_ir_valley_locs[k] - an_ir_valley_locs[k - 1]);
            n_peak_interval_sum = n_peak_interval_sum / (n_npks - 1);
            *pn_heart_rate = (int32_t) ( (FS * 60) / n_peak_interval_sum);
            *pch_hr_valid = 1;
        }
    else
        {
            *pn_heart_rate = -999; // unable to calculate because # of peaks are too small
            *pch_hr_valid = 0;
        }

    //  load raw value again for SPO2 calculation : RED(=y) and IR(=X)
    for (k = 0; k < n_ir_buffer_length; k++)
        {
            an_x[k] = pun_ir_buffer[k];
            an_y[k] = pun_red_buffer[k];
        }

    // find precise min near an_ir_valley_locs
    n_exact_ir_valley_locs_count = n_npks;

    //using exact_ir_valley_locs , find ir-red DC andir-red AC for SPO2 calibration an_ratio
    //finding AC/DC maximum of raw

    n_ratio_average = 0;
    n_i_ratio_count = 0;
    for (k = 0; k < 5; k++)
        an_ratio[k] = 0;
    for (k = 0; k < n_exact_ir_valley_locs_count; k++)
        {
            if (an_ir_valley_locs[k] > BUFFER_SIZE)
                {
                    *pn_spo2 = -999; // do not use SPO2 since valley loc is out of range
                    *pch_spo2_valid = 0;
                    return;
                }
        }
    // find max between two valley locations
    // and use an_ratio betwen AC compoent of Ir & Red and DC compoent of Ir & Red for SPO2
    for (k = 0; k < n_exact_ir_valley_locs_count - 1; k++)
        {
            n_y_dc_max = -16777216;
            n_x_dc_max = -16777216;
            if (an_ir_valley_locs[k + 1] - an_ir_valley_locs[k] > 3)
                {
                    for (i = an_ir_valley_locs[k]; i < an_ir_valley_locs[k + 1]; i++)
                        {
                            if (an_x[i] > n_x_dc_max)
                                {
                                    n_x_dc_max = an_x[i];
                                    n_x_dc_max_idx = i;
                                }
                            if (an_y[i] > n_y_dc_max)
                                {
                                    n_y_dc_max = an_y[i];
                                    n_y_dc_max_idx = i;
                                }
                        }
                    n_y_ac = (an_y[an_ir_valley_locs[k + 1]] - an_y[an_ir_valley_locs[k]])
                                    * (n_y_dc_max_idx - an_ir_valley_locs[k]); //red
                    n_y_ac = an_y[an_ir_valley_locs[k]]
                                  + n_y_ac / (an_ir_valley_locs[k + 1] - an_ir_valley_locs[k]);
                    n_y_ac = an_y[n_y_dc_max_idx] - n_y_ac; // subracting linear DC compoenents from raw
                    n_x_ac = (an_x[an_ir_valley_locs[k + 1]] - an_x[an_ir_valley_locs[k]])
                                    * (n_x_dc_max_idx - an_ir_valley_locs[k]); // ir
                    n_x_ac = an_x[an_ir_valley_locs[k]]
                                  + n_x_ac / (an_ir_valley_locs[k + 1] - an_ir_valley_locs[k]);
                    n_x_ac = an_x[n_y_dc_max_idx] - n_x_ac; // subracting linear DC compoenents from raw
                    n_nume = (n_y_ac * n_x_dc_max) >> 7; //prepare X100 to preserve floating value
                    n_denom = (n_x_ac * n_y_dc_max) >> 7;
                    if (n_denom > 0 && n_i_ratio_count < 5 && n_nume != 0)
                        {
                            an_ratio[n_i_ratio_count] = (n_nume * 100) / n_denom; //formular is ( n_y_ac *n_x_dc_max) / ( n_x_ac *n_y_dc_max) ;
                            n_i_ratio_count++;
                        }
                }
        }
    // choose median value since PPG signal may varies from beat to beat
    sort_ascend (an_ratio, n_i_ratio_count);
    n_middle_idx = n_i_ratio_count / 2;

    if (n_middle_idx > 1)
        n_ratio_average = (an_ratio[n_middle_idx - 1] + an_ratio[n_middle_idx]) / 2; // use median
    else
        n_ratio_average = an_ratio[n_middle_idx];

    if (n_ratio_average > 2 && n_ratio_average < 184)
        {
            n_spo2_calc = uch_spo2_table[n_ratio_average];
            *pn_spo2 = n_spo2_calc;
            *pch_spo2_valid = 1; //  float_SPO2 =  -45.060*n_ratio_average* n_ratio_average/10000 + 30.354 *n_ratio_average/100 + 94.845 ;  // for comparison with table
        }
    else
        {
            *pn_spo2 = -999; // do not use SPO2 since signal an_ratio is out of range
            *pch_spo2_valid = 0;
        }
}

boolean getDataIfAvailable (afe44xx_output_values *sensed_values)
{
    uint32_t IRtemp, REDtemp;
    boolean afe44xx_data_ready = FALSE;

    int32_t n_spo2;  //SPO2 value
    int8_t ch_spo2_valid;  //indicator to show if the SPO2 calculation is valid
    int32_t n_heart_rate; //heart rate value
    int8_t ch_hr_valid;  //indicator to show if the heart rate calculation is valid

    if (drdy_trigger)
        {
            //detachInterrupt(intrrpt_num); DESHABILITAR LA INTERUPCIÓN. En STM están en globadas las 9 a 5, yo estoy ocupando la 8
            NVIC_DisableIRQ (EXTI9_5_IRQn);
            afe44xxWrite (CONTROL0, 0x000001);
            IRtemp = afe44xxRead (LED1VAL);
            afe44xxWrite (CONTROL0, 0x000001);
            REDtemp = afe44xxRead (LED2VAL);
            afe44xx_data_ready = TRUE;
        }
    if (afe44xx_data_ready == TRUE)
        {
            IRtemp = (uint32_t) (IRtemp << 10);
            sensed_values->ir = (int32_t) (IRtemp);
            sensed_values->ir = (int32_t) ( (sensed_values->ir) >> 10);
            REDtemp = (uint32_t) (REDtemp << 10);
            sensed_values->red = (int32_t) (REDtemp);
            sensed_values->red = (int32_t) ( (sensed_values->red) >> 10);

            if (dec == 20)
                {
                    aun_ir_buffer[n_buffer_count] = (uint16_t) ( (sensed_values->ir) >> 4);
                    aun_red_buffer[n_buffer_count] = (uint16_t) ( (sensed_values->red) >> 4);
                    n_buffer_count++;
                    dec = 0;
                }

            dec++;

            if (n_buffer_count > 99)
                {
                    estimate_spo2 (aun_ir_buffer, 100, aun_red_buffer, &n_spo2, &ch_spo2_valid,
                                   &n_heart_rate, &ch_hr_valid);
                    sensed_values->spo2 = n_spo2;
                    sensed_values->heart_rate = n_heart_rate;
                }

            sensed_values->calculated_value = TRUE;
            //afe44xx_data_ready = FALSE;
            drdy_trigger = FALSE;
            //attachInterrupt(intrrpt_num, afe44xx_drdy_event, RISING );
            NVIC_EnableIRQ (EXTI9_5_IRQn);
            if (n_buffer_count > 99)
                {
                    n_buffer_count = 0;
                    return TRUE;
                }
            return FALSE;  //evitar una salida sin return

        }
    else
        {

            return FALSE;
        }

}

void selChADC (ADC_HandleTypeDef *hadc, uint8_t channel)
{
    ADC_ChannelConfTypeDef sConfig =
            { 0 };

    if (HAL_ADC_DeInit (&hadc1) != HAL_OK)
        {
            Error_Handler ();
        }

    if (HAL_ADC_Init (&hadc1) != HAL_OK)
        {
            Error_Handler ();
        }

    switch (channel)
    {
        case 0:
            sConfig.Channel = ADC_CHANNEL_0;
            sConfig.Rank = ADC_REGULAR_RANK_1;
            break;
        case 1:
            sConfig.Channel = ADC_CHANNEL_1;
            sConfig.Rank = ADC_REGULAR_RANK_2;
            break;
        case 2:
            sConfig.Channel = ADC_CHANNEL_2;
            sConfig.Rank = ADC_REGULAR_RANK_3;
            break;
        default:
            break;
    }

    sConfig.SamplingTime =  ADC_SAMPLETIME_1CYCLE_5;		// error de lectura por mala definición de velocidad de muestreo, cambiar por: ADC_SAMPLETIME_28CYCLES_5
    if (HAL_ADC_ConfigChannel (hadc, &sConfig) != HAL_OK)
        {
            Error_Handler ();
        }
}

uint16_t analogRead (ADC_HandleTypeDef *hadc)
{

    HAL_ADC_Start (hadc);
    HAL_ADC_PollForConversion (hadc, 5);
    uint16_t valorADCLeido = HAL_ADC_GetValue (hadc);
    HAL_ADC_Stop (hadc);
    return valorADCLeido;
}

void USART_Rev (UART_HandleTypeDef *huart)
{
	//HAL_GPIO_TogglePin(TEST_USART_GPIO_Port, TEST_USART_Pin);
	uint32_t USART1_CR1     = READ_REG(huart->Instance->CR1);
	uint32_t error_flags_U1 = 0x00U;
	error_flags_U1 = (USART1_CR1 &(uint32_t)USART_CR1_PEIE_Msk);
	if(!error_flags_U1)
	{
		/*
		HAL_UART_Init(&huart1);
		__HAL_UART_CLEAR_PEFLAG(&huart1);
		__HAL_UART_CLEAR_OREFLAG(&huart1);
		__HAL_UART_CLEAR_FEFLAG(&huart1);
		__HAL_UART_CLEAR_NEFLAG(&huart1);
		__HAL_UART_CLEAR_IDLEFLAG(&huart1);
		//MX_USART1_UART_Init();
		HAL_UART_Init(&huart1);
		__HAL_UNLOCK(huart);

		/// Enable the UART Parity Error Interrupt ///
		__HAL_UART_ENABLE_IT(huart, UART_IT_PE);

		// Enable the UART Error Interrupt: (Frame error, noise error, overrun error) ///
		__HAL_UART_ENABLE_IT(huart, UART_IT_ERR);

		// Enable the UART Data Register not empty Interrupt /
		__HAL_UART_ENABLE_IT(huart, UART_IT_RXNE);
		*/
	    SCB->AIRCR = ((0x5FA << SCB_AIRCR_VECTKEY_Pos) |
	                   (SCB->AIRCR & SCB_AIRCR_PRIGROUP_Msk) |
	                   SCB_AIRCR_SYSRESETREQ_Msk);

	}
	if(__HAL_RCC_GET_FLAG(RCC_FLAG_SFTRST))
	{
		monitoreoActivo = TRUE;
		__HAL_RCC_CLEAR_RESET_FLAGS();
	}
	/*
	__HAL_UART_CLEAR_PEFLAG(&huart1);
	__HAL_UART_CLEAR_OREFLAG(&huart1);
	__HAL_UART_CLEAR_FEFLAG(&huart1);
	__HAL_UART_CLEAR_NEFLAG(&huart1);
	__HAL_UART_CLEAR_IDLEFLAG(&huart1);
	//MX_USART1_UART_Init();
	HAL_UART_Init(&huart1);
	__HAL_UNLOCK(huart);

	/// Enable the UART Parity Error Interrupt ///
	__HAL_UART_ENABLE_IT(huart, UART_IT_PE);

	// Enable the UART Error Interrupt: (Frame error, noise error, overrun error) ///
	__HAL_UART_ENABLE_IT(huart, UART_IT_ERR);

	// Enable the UART Data Register not empty Interrupt /
	__HAL_UART_ENABLE_IT(huart, UART_IT_RXNE);
	*/
}

/* USER CODE END Application */
